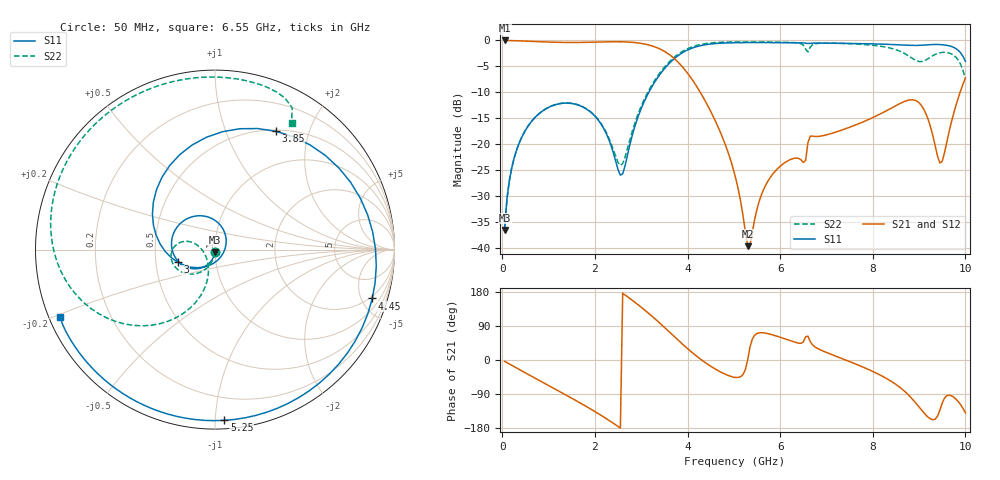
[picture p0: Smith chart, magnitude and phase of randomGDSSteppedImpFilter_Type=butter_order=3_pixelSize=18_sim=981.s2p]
! freq	dB(S11)	phase(S11)	dB(S12)	phase(S12)
!  dB(S21)	phase(S21)	dB(S22)	phase(S22)
!S-par simulation data
#  GHz  S  DB  R 50
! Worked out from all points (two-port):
!   200 points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, 50 MHz to 10 GHz, reference 50 ohm
!   highest |S21| = -0.01 dB at 50 MHz (marker M1); lowest = -39.7 dB at 5.3 GHz (marker M2)
!   |S21| within 3 dB of the highest: start of sweep to 3.647 GHz
!   lowest |S11| = -36.6 dB at 50 MHz (marker M3), VSWR 1.03, Z = 49.9 - j1.47 ohm
!   |S11| at or under -10 dB: start of sweep to 3.165 GHz
!   |S22| runs from -36.6 to -0.3 dB; largest |S21 - S12| = 0
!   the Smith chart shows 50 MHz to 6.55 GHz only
!   S11 on the Smith chart (normalised r, x): 50 MHz: 1.00, -0.03; 3 GHz: 0.65, -0.10; 3.85 GHz: 0.52, +1.51; 4.45 GHz: 1.76, -6.09; 5.25 GHz: 0.05, -1.05; 6.55 GHz: 0.03, -0.21
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0.05  -36.60 -93.8  -0.01 -3.5  -0.01 -3.5  -36.56 -92.8
0.2  -24.80 -105.9  -0.04 -13.7  -0.04 -13.7  -24.78 -101.9
0.55  -16.64 -133.5  -0.15 -37.4  -0.15 -37.4  -16.63 -122.3
1.75  -12.91 127.4  -0.38 -118.1  -0.38 -118.1  -12.87 176.1
2.55  -26.02 -20.9  -0.26 -179.6  -0.26 -179.6  -24.15 -155.8
3  -13.15 -161.5  -0.57 139.3  -0.57 139.3  -12.70 -105.4
3.4  -6.62 134.3  -1.64 97.4  -1.64 97.4  -6.31 -123.8
3.85  -2.60 62.9  -4.71 46.4  -4.71 46.4  -2.34 -154.4
4.45  -0.75 -17.3  -12.83 -12.5  -12.83 -12.5  -0.55 165.6
5.05  -0.44 -72.5  -26.98 -46.2  -26.98 -46.2  -0.29 133.8
5.25  -0.42 -86.9  -37.08 -25.0  -37.08 -25.0  -0.29 124.3
5.3  -0.42 -90.2  -39.74 1.2  -39.74 1.2  -0.29 121.9
5.8  -0.42 -120.0  -26.29 67.6  -26.29 67.6  -0.32 98.8
6.55  -0.53 -156.4  -23.20 61.2  -23.20 61.2  -1.68 58.8
6.7  -0.53 -162.1  -18.48 39.9  -18.48 39.9  -0.84 62.6
7.65  -0.60 159.5  -16.26 -11.5  -16.26 -11.5  -0.70 6.2
8.35  -0.76 132.6  -13.32 -52.6  -13.32 -52.6  -1.42 -50.8
8.7  -0.91 119.4  -11.74 -83.9  -11.74 -83.9  -2.60 -103.4
8.95  -0.96 110.4  -11.71 -116.6  -11.71 -116.6  -3.95 -172.3
9.25  -0.81 98.3  -16.80 -155.8  -16.80 -155.8  -3.20 81.3
9.6  -0.95 79.8  -19.55 -94.0  -19.55 -94.0  -2.34 2.9
10  -4.04 54.2  -7.30 -139.3  -7.30 -139.3  -7.39 -54.9
